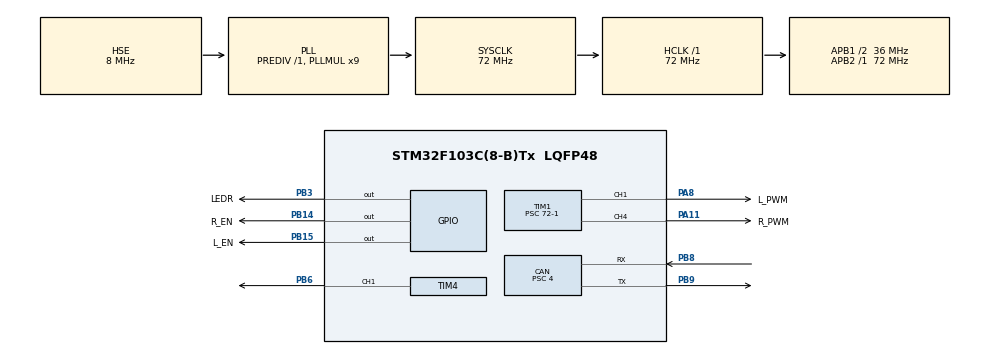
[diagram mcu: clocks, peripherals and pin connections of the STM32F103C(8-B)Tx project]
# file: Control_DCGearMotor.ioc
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CAN.BS1=CAN_BS1_16TQ
CAN.CalculateBaudRate=500000
CAN.CalculateTimeBit=2000
CAN.CalculateTimeQuantum=111.11111111111111
CAN.NART=ENABLE
CAN.Prescaler=4
CAN.SJW=CAN_SJW_2TQ
Mcu.Family=STM32F1
Mcu.Name=STM32F103C(8-B)Tx
Mcu.Package=LQFP48
NVIC.CAN1_RX1_IRQn=true\:0\:0\:false\:false\:true\:true\:true\:true
NVIC.PriorityGroup=NVIC_PRIORITYGROUP_4
PA11.GPIO_Label=R_PWM
PA11.Signal=S_TIM1_CH4
PA13.Mode=Serial_Wire
PA13.Signal=SYS_JTMS-SWDIO
PA14.Mode=Serial_Wire
PA14.Signal=SYS_JTCK-SWCLK
PA8.GPIO_Label=L_PWM
PA8.Signal=S_TIM1_CH1
PB14.GPIO_Label=R_EN
PB14.GPIO_Speed=GPIO_SPEED_FREQ_HIGH
PB14.PinState=GPIO_PIN_SET
PB14.Signal=GPIO_Output
PB15.GPIO_Label=L_EN
PB15.GPIO_Speed=GPIO_SPEED_FREQ_HIGH
PB15.PinState=GPIO_PIN_SET
PB15.Signal=GPIO_Output
PB3.GPIO_Label=LEDR
PB3.GPIO_Speed=GPIO_SPEED_FREQ_HIGH
PB3.Signal=GPIO_Output
PB6.Signal=S_TIM4_CH1
PB8.Mode=CAN_Activate
PB8.Signal=CAN_RX
PB9.Mode=CAN_Activate
PB9.Signal=CAN_TX
PD0-OSC_IN.Mode=HSE-External-Oscillator
PD0-OSC_IN.Signal=RCC_OSC_IN
PD1-OSC_OUT.Mode=HSE-External-Oscillator
PD1-OSC_OUT.Signal=RCC_OSC_OUT
ProjectManager.HeapSize=0x200
ProjectManager.StackSize=0x400
ProjectManager.TargetToolchain=STM32CubeIDE
RCC.AHBFreq_Value=72000000
RCC.APB1CLKDivider=RCC_HCLK_DIV2
RCC.APB1Freq_Value=36000000
RCC.APB1TimFreq_Value=72000000
RCC.APB2Freq_Value=72000000
RCC.APB2TimFreq_Value=72000000
RCC.HCLKFreq_Value=72000000
RCC.PLLMUL=RCC_PLL_MUL9
RCC.PLLSourceVirtual=RCC_PLLSOURCE_HSE
RCC.SYSCLKFreq_VALUE=72000000
RCC.SYSCLKSource=RCC_SYSCLKSOURCE_PLLCLK
RCC.USBFreq_Value=72000000
SH.S_TIM1_CH1.0=TIM1_CH1,PWM Generation1 CH1
SH.S_TIM1_CH4.0=TIM1_CH4,PWM Generation4 CH4
SH.S_TIM4_CH1.0=TIM4_CH1,PWM Generation1 CH1
TIM1.Channel-PWM\ Generation1\ CH1=TIM_CHANNEL_1
TIM1.Channel-PWM\ Generation4\ CH4=TIM_CHANNEL_4
TIM1.Period=1000-1
TIM1.Prescaler=72-1
TIM4.Channel-PWM\ Generation1\ CH1=TIM_CHANNEL_1
TIM4.Period=2000-1
TIM4.Prescaler=72-1
VP_TIM1_VS_ClockSourceINT.Mode=Internal
VP_TIM4_VS_ClockSourceINT.Mode=Internal
board=custom

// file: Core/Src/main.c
/* USER CODE BEGIN Header */
/**
  ******************************************************************************
  * @file           : main.c
  * @brief          : Main program body
  ******************************************************************************
  * @attention
  *
  * Copyright (c) 2023 STMicroelectronics.
  * All rights reserved.
  *
  * This software is licensed under terms that can be found in the LICENSE file
  * in the root directory of this software component.
  * If no LICENSE file comes with this software, it is provided AS-IS.
  *
  ******************************************************************************
  */
/* USER CODE END Header */
#include "main.h"

/* USER CODE BEGIN PTD */
typedef enum
{
	MOTOR_STOP,
	MOTOR_CTRL_FORWARD, //dieu khien dong co thuan chieu
	MOTOR_CTRL_BACKWARD, //dieu khien dong co nguoc chieu
}MotorState;
/* USER CODE END PTD */

CAN_HandleTypeDef hcan;

TIM_HandleTypeDef htim1;
TIM_HandleTypeDef htim4;

/* USER CODE BEGIN PV */
MotorState motor_state;

CAN_TxHeaderTypeDef TxHeader;
CAN_RxHeaderTypeDef RxHeader;

uint32_t TxMailbox;

uint8_t TxData[8];
uint8_t RxData[8];

uint8_t Tx_Buffer[58];
uint16_t index_array;
uint16_t SpeedVal = 80; //default speed

uint8_t data_catch = 0;
/* USER CODE END PV */

void SystemClock_Config(void);
static void MX_GPIO_Init(void);
static void MX_TIM1_Init(void);
static void MX_CAN_Init(void);
static void MX_TIM4_Init(void);

/* USER CODE BEGIN 0 */
void HAL_CAN_RxFifo1MsgPendingCallback(CAN_HandleTypeDef *hcan)
{
	if(HAL_CAN_GetRxMessage(hcan, CAN_RX_FIFO1, &RxHeader, RxData) != HAL_OK)
	{
		Error_Handler();
	}
	else
	{
		data_catch = 1;
	}
}

void pwm_set_duty(TIM_HandleTypeDef *htim, uint16_t channel,uint8_t duty)
{
	uint16_t ccr = duty*(htim->Instance->ARR)/100;  //ratio division
	switch(channel)
	{
		case TIM_CHANNEL_1:
			htim->Instance->CCR1 = ccr;
			break;
		case TIM_CHANNEL_2:
			htim->Instance->CCR2 = ccr;
			break;
		case TIM_CHANNEL_3:
			htim->Instance->CCR3 = ccr;
			break;
		case TIM_CHANNEL_4:
			htim->Instance->CCR4 = ccr;
			break;
	}
}
//speed: 0->100
//RPWM = 1 LPWM = 0 -> Motor quay thuan
//RPWM = 0 LPWM = 1 -> Motor quay nghich
//RPWM = 0 LPWM = 0 -> Motor dung
void motor_control(MotorState state, uint8_t speed)
{
	switch(state)
	{
		case MOTOR_STOP:
			pwm_set_duty(&htim1,TIM_CHANNEL_4,0);
			pwm_set_duty(&htim1,TIM_CHANNEL_1,0);
			break;
		case MOTOR_CTRL_FORWARD:
			pwm_set_duty(&htim1,TIM_CHANNEL_4,speed);
			pwm_set_duty(&htim1,TIM_CHANNEL_1,0);
			break;
		case MOTOR_CTRL_BACKWARD:
			pwm_set_duty(&htim1,TIM_CHANNEL_4,0); //RPWM
			pwm_set_duty(&htim1,TIM_CHANNEL_1,speed); //LPWM
			break;
	}
}

uint32_t servo_map(uint32_t x, uint32_t in_min, uint32_t in_max, uint32_t out_min, uint32_t out_max) {
	 return (x - in_min) * (out_max - out_min) / (in_max - in_min) + out_min;
}

void servo_set_duty(TIM_HandleTypeDef *htim, uint16_t channel,uint8_t angle)
{
	uint16_t ccr = servo_map(angle,0, 180,544,2400);
	switch(channel)
	{
		case TIM_CHANNEL_1:
			htim->Instance->CCR1 = ccr;
			break;
		case TIM_CHANNEL_2:
			htim->Instance->CCR2 = ccr;
			break;
		case TIM_CHANNEL_3:
			htim->Instance->CCR3 = ccr;
			break;
		case TIM_CHANNEL_4:
			htim->Instance->CCR4 = ccr;
			break;
	}
}
/* USER CODE END 0 */

int main(void)
{

  /* MCU Configuration--------------------------------------------------------*/

  /* Reset of all peripherals, Initializes the Flash interface and the Systick. */
  HAL_Init();

  /* Configure the system clock */
  SystemClock_Config();

  /* Initialize all configured peripherals */
  MX_GPIO_Init();
  MX_TIM1_Init();
  MX_CAN_Init();
  MX_TIM4_Init();
  /* USER CODE BEGIN 2 */
  HAL_TIM_PWM_Start(&htim1,TIM_CHANNEL_4);
  HAL_TIM_PWM_Start(&htim1,TIM_CHANNEL_1);
  HAL_TIM_PWM_Start(&htim4,TIM_CHANNEL_1);

  HAL_CAN_Init(&hcan);

  //Send notify signal to recieve message from actuator node
  HAL_CAN_ActivateNotification(&hcan, CAN_IT_RX_FIFO1_MSG_PENDING);

  CAN_FilterTypeDef canfilterconfig;

  canfilterconfig.FilterActivation = CAN_FILTER_ENABLE;
  canfilterconfig.FilterBank = 1;  // anything between 0 to SlaveStartFilterBank
  canfilterconfig.FilterFIFOAssignment = CAN_RX_FIFO1;
  canfilterconfig.FilterIdHigh = 0x555 << 5;
  canfilterconfig.FilterIdLow = 0x0000;
  canfilterconfig.FilterMaskIdHigh = 0x555 << 5;
  canfilterconfig.FilterMaskIdLow = 0x0000;
  canfilterconfig.FilterMode = CAN_FILTERMODE_IDMASK;
  canfilterconfig.FilterScale = CAN_FILTERSCALE_32BIT;
  //canfilterconfig.SlaveStartFilterBank = 14;

   HAL_CAN_ConfigFilter(&hcan, &canfilterconfig);

   HAL_CAN_Start(&hcan);

   //Config CAN Tx header
   TxHeader.DLC = 8;
   TxHeader.ExtId = 0;
   TxHeader.IDE = CAN_ID_STD;
   TxHeader.RTR = CAN_RTR_DATA;
   TxHeader.StdId = 0x2AA;
   TxHeader.TransmitGlobalTime = DISABLE;
  /* USER CODE END 2 */

  /* Infinite loop */
  /* USER CODE BEGIN WHILE */
  while (1)
  {
	if(data_catch == 1)
	{
		switch(RxData[0])
		{
			default: //default
			{
				motor_control(MOTOR_CTRL_FORWARD, SpeedVal);
				servo_set_duty(&htim4, TIM_CHANNEL_1, 90);
				break;
			}
			case 0x01: //ben phai co vat can
			{
				servo_set_duty(&htim4, TIM_CHANNEL_1, 0);
				motor_control(MOTOR_CTRL_FORWARD, SpeedVal);
				break;
			}
			case 0x03: //ca 2 deu co vat can
			{
				motor_control(MOTOR_CTRL_BACKWARD, SpeedVal);
				break;
			}
			case 0x04: //ben trai co vat can
			{
				servo_set_duty(&htim4, TIM_CHANNEL_1, 180);
				motor_control(MOTOR_CTRL_FORWARD, SpeedVal);
				break;
			}
		}
		HAL_GPIO_TogglePin(GPIOB,GPIO_PIN_3);
		data_catch = 0;
	} else if(data_catch == 0)
	{
		//ignore, do nothing
	}
//	 motor_control(MOTOR_CTRL_FORWARD, SpeedVal);
//	 servo_set_duty(&htim4, TIM_CHANNEL_1, 0);
//	 HAL_Delay(500);
//	 servo_set_duty(&htim4, TIM_CHANNEL_1, 90);
//	 HAL_Delay(500);
    /* USER CODE END WHILE */

  }
}

void SystemClock_Config(void)
{
  RCC_OscInitTypeDef RCC_OscInitStruct = {0};
  RCC_ClkInitTypeDef RCC_ClkInitStruct = {0};

  /** Initializes the RCC Oscillators according to the specified parameters
  * in the RCC_OscInitTypeDef structure.
  */
  RCC_OscInitStruct.OscillatorType = RCC_OSCILLATORTYPE_HSE;
  RCC_OscInitStruct.HSEState = RCC_HSE_ON;
  RCC_OscInitStruct.HSEPredivValue = RCC_HSE_PREDIV_DIV1;
  RCC_OscInitStruct.HSIState = RCC_HSI_ON;
  RCC_OscInitStruct.PLL.PLLState = RCC_PLL_ON;
  RCC_OscInitStruct.PLL.PLLSource = RCC_PLLSOURCE_HSE;
  RCC_OscInitStruct.PLL.PLLMUL = RCC_PLL_MUL9;
  if (HAL_RCC_OscConfig(&RCC_OscInitStruct) != HAL_OK)
  {
    Error_Handler();
  }

  /** Initializes the CPU, AHB and APB buses clocks
  */
  RCC_ClkInitStruct.ClockType = RCC_CLOCKTYPE_HCLK|RCC_CLOCKTYPE_SYSCLK
                              |RCC_CLOCKTYPE_PCLK1|RCC_CLOCKTYPE_PCLK2;
  RCC_ClkInitStruct.SYSCLKSource = RCC_SYSCLKSOURCE_PLLCLK;
  RCC_ClkInitStruct.AHBCLKDivider = RCC_SYSCLK_DIV1;
  RCC_ClkInitStruct.APB1CLKDivider = RCC_HCLK_DIV2;
  RCC_ClkInitStruct.APB2CLKDivider = RCC_HCLK_DIV1;

  if (HAL_RCC_ClockConfig(&RCC_ClkInitStruct, FLASH_LATENCY_2) != HAL_OK)
  {
    Error_Handler();
  }
}

static void MX_CAN_Init(void)
{

  hcan.Instance = CAN1;
  hcan.Init.Prescaler = 4;
  hcan.Init.Mode = CAN_MODE_NORMAL;
  hcan.Init.SyncJumpWidth = CAN_SJW_2TQ;
  hcan.Init.TimeSeg1 = CAN_BS1_16TQ;
  hcan.Init.TimeSeg2 = CAN_BS2_1TQ;
  hcan.Init.TimeTriggeredMode = DISABLE;
  hcan.Init.AutoBusOff = DISABLE;
  hcan.Init.AutoWakeUp = DISABLE;
  hcan.Init.AutoRetransmission = ENABLE;
  hcan.Init.ReceiveFifoLocked = DISABLE;
  hcan.Init.TransmitFifoPriority = DISABLE;
  if (HAL_CAN_Init(&hcan) != HAL_OK)
  {
    Error_Handler();
  }

}

static void MX_TIM1_Init(void)
{

  TIM_ClockConfigTypeDef sClockSourceConfig = {0};
  TIM_MasterConfigTypeDef sMasterConfig = {0};
  TIM_OC_InitTypeDef sConfigOC = {0};
  TIM_BreakDeadTimeConfigTypeDef sBreakDeadTimeConfig = {0};

  htim1.Instance = TIM1;
  htim1.Init.Prescaler = 72-1;
  htim1.Init.CounterMode = TIM_COUNTERMODE_UP;
  htim1.Init.Period = 1000-1;
  htim1.Init.ClockDivision = TIM_CLOCKDIVISION_DIV1;
  htim1.Init.RepetitionCounter = 0;
  htim1.Init.AutoReloadPreload = TIM_AUTORELOAD_PRELOAD_DISABLE;
  if (HAL_TIM_Base_Init(&htim1) != HAL_OK)
  {
    Error_Handler();
  }
  sClockSourceConfig.ClockSource = TIM_CLOCKSOURCE_INTERNAL;
  if (HAL_TIM_ConfigClockSource(&htim1, &sClockSourceConfig) != HAL_OK)
  {
    Error_Handler();
  }
  if (HAL_TIM_PWM_Init(&htim1) != HAL_OK)
  {
    Error_Handler();
  }
  sMasterConfig.MasterOutputTrigger = TIM_TRGO_RESET;
  sMasterConfig.MasterSlaveMode = TIM_MASTERSLAVEMODE_DISABLE;
  if (HAL_TIMEx_MasterConfigSynchronization(&htim1, &sMasterConfig) != HAL_OK)
  {
    Error_Handler();
  }
  sConfigOC.OCMode = TIM_OCMODE_PWM1;
  sConfigOC.Pulse = 0;
  sConfigOC.OCPolarity = TIM_OCPOLARITY_HIGH;
  sConfigOC.OCNPolarity = TIM_OCNPOLARITY_HIGH;
  sConfigOC.OCFastMode = TIM_OCFAST_DISABLE;
  sConfigOC.OCIdleState = TIM_OCIDLESTATE_RESET;
  sConfigOC.OCNIdleState = TIM_OCNIDLESTATE_RESET;
  if (HAL_TIM_PWM_ConfigChannel(&htim1, &sConfigOC, TIM_CHANNEL_1) != HAL_OK)
  {
    Error_Handler();
  }
  if (HAL_TIM_PWM_ConfigChannel(&htim1, &sConfigOC, TIM_CHANNEL_4) != HAL_OK)
  {
    Error_Handler();
  }
  sBreakDeadTimeConfig.OffStateRunMode = TIM_OSSR_DISABLE;
  sBreakDeadTimeConfig.OffStateIDLEMode = TIM_OSSI_DISABLE;
  sBreakDeadTimeConfig.LockLevel = TIM_LOCKLEVEL_OFF;
  sBreakDeadTimeConfig.DeadTime = 0;
  sBreakDeadTimeConfig.BreakState = TIM_BREAK_DISABLE;
  sBreakDeadTimeConfig.BreakPolarity = TIM_BREAKPOLARITY_HIGH;
  sBreakDeadTimeConfig.AutomaticOutput = TIM_AUTOMATICOUTPUT_DISABLE;
  if (HAL_TIMEx_ConfigBreakDeadTime(&htim1, &sBreakDeadTimeConfig) != HAL_OK)
  {
    Error_Handler();
  }
  HAL_TIM_MspPostInit(&htim1);

}

static void MX_TIM4_Init(void)
{

  TIM_ClockConfigTypeDef sClockSourceConfig = {0};
  TIM_MasterConfigTypeDef sMasterConfig = {0};
  TIM_OC_InitTypeDef sConfigOC = {0};

  htim4.Instance = TIM4;
  htim4.Init.Prescaler = 72-1;
  htim4.Init.CounterMode = TIM_COUNTERMODE_UP;
  htim4.Init.Period = 2000-1;
  htim4.Init.ClockDivision = TIM_CLOCKDIVISION_DIV1;
  htim4.Init.AutoReloadPreload = TIM_AUTORELOAD_PRELOAD_DISABLE;
  if (HAL_TIM_Base_Init(&htim4) != HAL_OK)
  {
    Error_Handler();
  }
  sClockSourceConfig.ClockSource = TIM_CLOCKSOURCE_INTERNAL;
  if (HAL_TIM_ConfigClockSource(&htim4, &sClockSourceConfig) != HAL_OK)
  {
    Error_Handler();
  }
  if (HAL_TIM_PWM_Init(&htim4) != HAL_OK)
  {
    Error_Handler();
  }
  sMasterConfig.MasterOutputTrigger = TIM_TRGO_RESET;
  sMasterConfig.MasterSlaveMode = TIM_MASTERSLAVEMODE_DISABLE;
  if (HAL_TIMEx_MasterConfigSynchronization(&htim4, &sMasterConfig) != HAL_OK)
  {
    Error_Handler();
  }
  sConfigOC.OCMode = TIM_OCMODE_PWM1;
  sConfigOC.Pulse = 0;
  sConfigOC.OCPolarity = TIM_OCPOLARITY_HIGH;
  sConfigOC.OCFastMode = TIM_OCFAST_DISABLE;
  if (HAL_TIM_PWM_ConfigChannel(&htim4, &sConfigOC, TIM_CHANNEL_1) != HAL_OK)
  {
    Error_Handler();
  }
  HAL_TIM_MspPostInit(&htim4);

}

static void MX_GPIO_Init(void)
{
  GPIO_InitTypeDef GPIO_InitStruct = {0};

  /* GPIO Ports Clock Enable */
  __HAL_RCC_GPIOD_CLK_ENABLE();
  __HAL_RCC_GPIOB_CLK_ENABLE();
  __HAL_RCC_GPIOA_CLK_ENABLE();

  /*Configure GPIO pin Output Level */
  HAL_GPIO_WritePin(GPIOB, R_EN_Pin|L_EN_Pin, GPIO_PIN_SET);

  /*Configure GPIO pin Output Level */
  HAL_GPIO_WritePin(LEDR_GPIO_Port, LEDR_Pin, GPIO_PIN_RESET);

  /*Configure GPIO pins : R_EN_Pin L_EN_Pin LEDR_Pin */
  GPIO_InitStruct.Pin = R_EN_Pin|L_EN_Pin|LEDR_Pin;
  GPIO_InitStruct.Mode = GPIO_MODE_OUTPUT_PP;
  GPIO_InitStruct.Pull = GPIO_NOPULL;
  GPIO_InitStruct.Speed = GPIO_SPEED_FREQ_HIGH;
  HAL_GPIO_Init(GPIOB, &GPIO_InitStruct);

}

void Error_Handler(void)
{
  __disable_irq();
  while (1)
  {
  }
}
